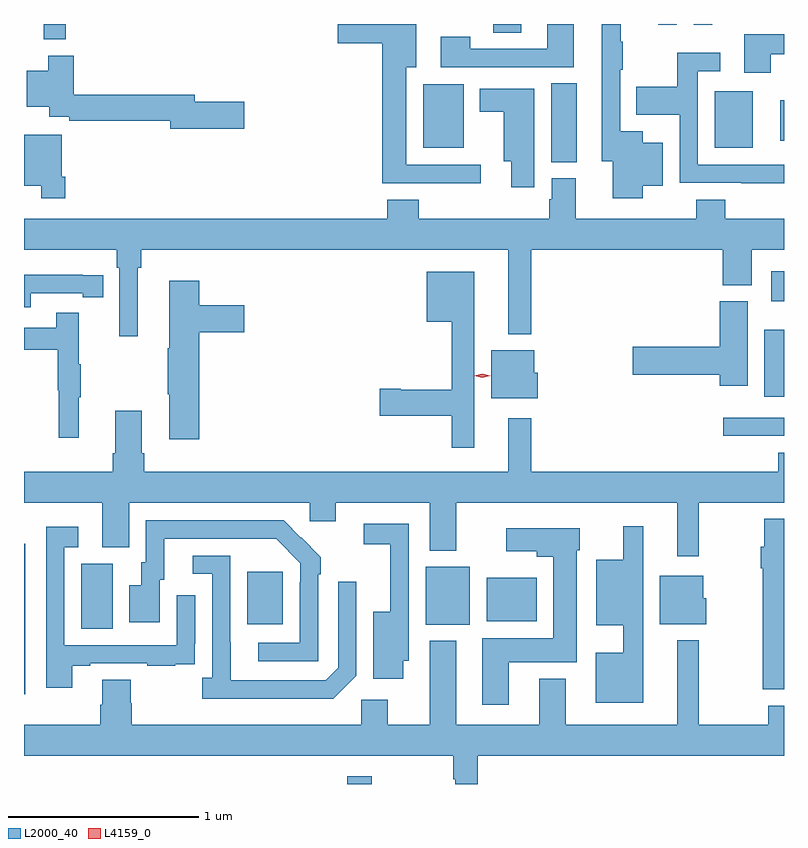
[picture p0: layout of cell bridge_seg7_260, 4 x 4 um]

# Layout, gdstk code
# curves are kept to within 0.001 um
import gdstk
lib = gdstk.Library(unit=1e-6, precision=1e-09)
def R(c, l, rs):  # rectangles x0, y0, x1, y1
    for r in rs: c.add(gdstk.rectangle(r[:2], r[2:], *l))
def P(c, l, *ps):  # polygons
    for p in ps: c.add(gdstk.Polygon(p, *l))
L2000_40 = (2000, 40)
L4159_0 = (4159, 0)

bridge_seg7_260 = lib.new_cell('bridge_seg7_260')
R(bridge_seg7_260, L2000_40, [(160.282,1060.408,160.411,1060.45), (158.58,1060.881,158.587,1061.672), (158.882,1061.224,159.046,1061.568), (160.694,1061.246,160.927,1061.551), (159.755,1061.249,159.943,1061.524), (161.015,1061.264,161.278,1061.494), (162.261,1062.24,162.58,1062.336), (162.476,1062.446,162.58,1062.799), (162.513,1062.95,162.58,1063.108), (161.354,1063.681,161.488,1064.096), (160.682,1063.757,160.894,1064.092), (162.215,1063.757,162.415,1064.053), (162.56,1063.794,162.58,1064.008), (158.684,1064.327,158.801,1064.408), (161.05,1064.362,161.197,1064.408), (161.918,1064.403,162.015,1064.408), (162.105,1064.403,162.203,1064.408)])
P(bridge_seg7_260, L2000_40, [(161.836,1063.556),(161.941,1063.556),(161.941,1063.783),(161.836,1063.783),(161.836,1063.843),(161.718,1063.843),(161.718,1064.167),(161.731,1064.167),(161.731,1064.315),(161.72,1064.315),(161.72,1064.408),(161.621,1064.408),(161.621,1063.685),(161.678,1063.685),(161.678,1063.491),(161.836,1063.491)],
  [(160.984,1063.668),(160.591,1063.668),(160.591,1064.18),(160.645,1064.18),(160.645,1064.408),(160.23,1064.408),(160.23,1064.306),(160.466,1064.306),(160.466,1063.571),(160.984,1063.571)],
  [(161.473,1064.408),(161.333,1064.408),(161.333,1064.277),(160.929,1064.277),(160.929,1064.341),(160.773,1064.341),(160.773,1064.181),(161.473,1064.181)],
  [(162.511,1064.249),(162.58,1064.249),(162.58,1064.353),(162.371,1064.353),(162.371,1064.151),(162.511,1064.151)],
  [(162.58,1063.668),(162.126,1063.668),(162.126,1064.16),(162.244,1064.16),(162.244,1064.257),(162.018,1064.257),(162.018,1064.079),(161.803,1064.079),(161.803,1063.931),(162.03,1063.931),(162.03,1063.572),(162.355,1063.572),(162.355,1063.571),(162.58,1063.571)],
  [(159.739,1064),(159.478,1064),(159.478,1064.036),(158.843,1064.036),(158.843,1064.242),(158.708,1064.242),(158.708,1064.161),(158.594,1064.161),(158.594,1063.973),(158.714,1063.973),(158.714,1063.92),(158.818,1063.92),(158.818,1063.9),(159.35,1063.9),(159.35,1063.858),(159.739,1063.858)],
  [(161.266,1064.068),(160.979,1064.068),(160.979,1063.946),(161.105,1063.946),(161.105,1063.685),(161.144,1063.685),(161.144,1063.548),(161.266,1063.548)],
  [(158.798,1063.603),(158.778,1063.603),(158.778,1063.825),(158.58,1063.825),(158.58,1063.556),(158.67,1063.556),(158.67,1063.491),(158.798,1063.491)],
  [(160.658,1063.483),(160.493,1063.483),(160.493,1063.384),(158.58,1063.384),(158.58,1063.22),(159.068,1063.22),(159.068,1063.124),(159.081,1063.124),(159.081,1062.765),(159.178,1062.765),(159.178,1063.124),(159.197,1063.124),(159.197,1063.22),(161.129,1063.22),(161.129,1062.776),(161.251,1062.776),(161.251,1063.22),(162.257,1063.22),(162.257,1063.033),(162.409,1063.033),(162.409,1063.22),(162.58,1063.22),(162.58,1063.384),(162.272,1063.384),(162.272,1063.483),(162.119,1063.483),(162.119,1063.384),(161.485,1063.384),(161.485,1063.596),(161.357,1063.596),(161.357,1063.485),(161.345,1063.485),(161.345,1063.384),(160.658,1063.384)],
  [(160.951,1063.105),(160.7,1063.105),(160.7,1062.842),(160.83,1062.842),(160.83,1062.483),(160.564,1062.483),(160.564,1062.488),(160.452,1062.488),(160.452,1062.346),(160.83,1062.346),(160.83,1062.177),(160.951,1062.177)],
  [(158.616,1062.99),(158.888,1062.99),(158.888,1062.97),(158.996,1062.97),(158.996,1063.086),(158.888,1063.086),(158.888,1063.087),(158.58,1063.087),(158.58,1062.918),(158.616,1062.918)],
  [(159.503,1062.785),(159.739,1062.785),(159.739,1062.927),(159.503,1062.927),(159.503,1063.057),(159.344,1063.057),(159.344,1062.701),(159.337,1062.701),(159.337,1062.46),(159.344,1062.46),(159.344,1062.222),(159.503,1062.222)],
  [(162.388,1062.948),(162.242,1062.948),(162.242,1062.71),(161.784,1062.71),(161.784,1062.563),(162.242,1062.563),(162.242,1062.504),(162.388,1062.504)],
  [(158.867,1062.443),(158.878,1062.443),(158.878,1062.617),(158.867,1062.617),(158.867,1062.889),(158.749,1062.889),(158.749,1062.81),(158.58,1062.81),(158.58,1062.694),(158.757,1062.694),(158.757,1062.48),(158.764,1062.48),(158.764,1062.231),(158.867,1062.231)],
  [(161.284,1062.573),(161.266,1062.573),(161.266,1062.691),(161.039,1062.691),(161.039,1062.437),(161.284,1062.437)],
  [(162.131,1061.888),(162.58,1061.888),(162.58,1062.151),(162.551,1062.151),(162.551,1062.052),(161.251,1062.052),(161.251,1062.334),(161.129,1062.334),(161.129,1062.052),(159.212,1062.052),(159.212,1062.148),(159.199,1062.148),(159.199,1062.373),(159.059,1062.373),(159.059,1062.148),(159.047,1062.148),(159.047,1062.052),(158.58,1062.052),(158.58,1061.888),(158.993,1061.888),(158.993,1061.653),(159.133,1061.653),(159.133,1061.888),(160.083,1061.888),(160.083,1061.79),(160.222,1061.79),(160.222,1061.888),(160.715,1061.888),(160.715,1061.636),(160.855,1061.636),(160.855,1061.888),(162.017,1061.888),(162.017,1061.607),(162.131,1061.607)],
  [(162.58,1061.803),(162.476,1061.803),(162.476,1061.658),(162.458,1061.658),(162.458,1061.544),(162.469,1061.544),(162.469,1060.907),(162.58,1060.907)],
  [(160.128,1061.513),(160.143,1061.513),(160.143,1061.601),(159.946,1061.796),(159.222,1061.796),(159.222,1061.574),(159.197,1061.574),(159.197,1061.455),(159.134,1061.455),(159.134,1061.259),(159.295,1061.259),(159.295,1061.484),(159.319,1061.484),(159.319,1061.7),(159.907,1061.7),(160.035,1061.571),(160.035,1061.471),(160.032,1061.471),(160.032,1061.151),(159.813,1061.151),(159.813,1061.055),(160.128,1061.055)],
  [(160.576,1061.057),(160.605,1061.057),(160.605,1061.778),(160.368,1061.778),(160.368,1061.67),(160.508,1061.67),(160.508,1061.314),(160.418,1061.314),(160.418,1060.962),(160.576,1060.962)],
  [(161.839,1061.764),(161.735,1061.764),(161.735,1061.587),(161.591,1061.587),(161.591,1061.243),(161.735,1061.243),(161.735,1061.098),(161.588,1061.098),(161.588,1060.835),(161.839,1060.835)],
  [(158.833,1061.031),(158.929,1061.031),(158.929,1061.043),(159.229,1061.043),(159.229,1061.031),(159.377,1061.031),(159.377,1061.037),(159.479,1061.037),(159.479,1061.146),(159.48,1061.146),(159.48,1061.401),(159.384,1061.401),(159.384,1061.139),(158.793,1061.139),(158.793,1061.655),(158.866,1061.655),(158.866,1061.761),(158.697,1061.761),(158.697,1060.914),(158.833,1060.914)],
  [(161.131,1061.048),(161.488,1061.048),(161.488,1061.637),(161.506,1061.637),(161.506,1061.755),(161.118,1061.755),(161.118,1061.633),(161.279,1061.633),(161.279,1061.603),(161.366,1061.603),(161.366,1061.176),(160.991,1061.176),(160.991,1060.824),(161.131,1060.824)],
  [(160.329,1060.977),(160.329,1061.473),(160.233,1061.473),(160.233,1061.019),(160.167,1060.953),(159.667,1060.953),(159.666,1061.61),(159.468,1061.61),(159.468,1061.514),(159.57,1061.514),(159.57,1060.966),(159.519,1060.966),(159.519,1060.856),(160.208,1060.856)],
  [(162.172,1061.385),(162.154,1061.385),(162.154,1061.503),(161.927,1061.503),(161.927,1061.249),(162.172,1061.249)],
  [(158.993,1060.958),(158.993,1060.826),(158.981,1060.826),(158.981,1060.72),(158.58,1060.72),(158.58,1060.556),(160.839,1060.556),(160.839,1060.433),(160.85,1060.433),(160.85,1060.408),(160.967,1060.408),(160.967,1060.556),(162.58,1060.556),(162.58,1060.819),(162.496,1060.819),(162.496,1060.72),(162.131,1060.72),(162.131,1061.164),(162.017,1061.164),(162.017,1060.72),(161.431,1060.72),(161.431,1060.963),(161.291,1060.963),(161.291,1060.72),(160.855,1060.72),(160.855,1061.161),(160.715,1061.161),(160.715,1060.72),(160.495,1060.72),(160.495,1060.852),(160.356,1060.852),(160.356,1060.72),(159.146,1060.72),(159.146,1060.833),(159.141,1060.833),(159.141,1060.958)])
P(bridge_seg7_260, L4159_0, [(160.992,1062.547),(160.951,1062.556),(160.951,1062.556),(160.951,1062.556),(160.992,1062.567),(161.033,1062.558),(161.033,1062.558),(161.033,1062.558)])

lib.write_gds('bridge_seg7_260.gds')
